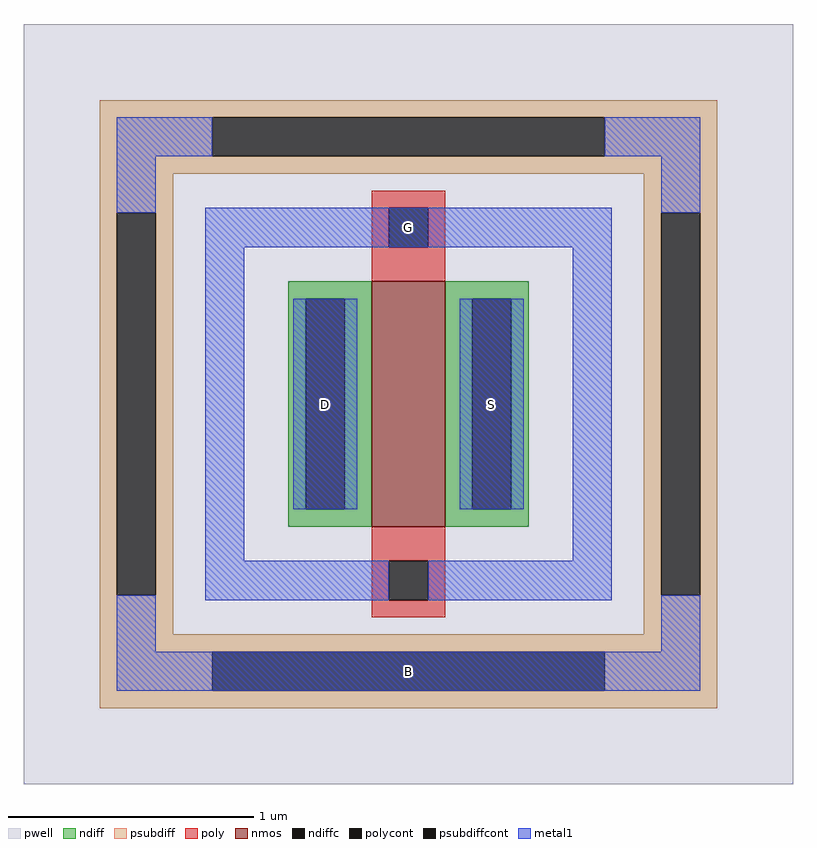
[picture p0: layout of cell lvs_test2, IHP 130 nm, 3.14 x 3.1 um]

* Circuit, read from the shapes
.subckt lvs_test2 S G D B
XM1 S G D B sg13_lv_nmos w=1u l=0.3u
.ends

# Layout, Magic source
magic
tech ihp-sg13cmos5l
<< metal1 >>
rect 149 219 165 235
rect 115 112 131 198
rect 183 112 199 198
rect 77 38 237 54
use sg13_lv_nmos_SWUS4L  sg13_lv_nmos_SWUS4L_0
transform 1 0 157 0 1 155
box -157 -155 157 155
<< labels >>
flabel metal1 183 112 199 198 0 FreeSans 128 0 0 0 S
port 0 nsew
flabel metal1 149 219 165 235 0 FreeSans 128 0 0 0 G
port 1 nsew
flabel metal1 115 112 131 198 0 FreeSans 128 0 0 0 D
port 2 nsew
flabel metal1 77 38 237 54 0 FreeSans 128 0 0 0 B
port 3 nsew
<< end >>

# cell sg13_lv_nmos_SWUS4L: kit device sg13_lv_nmos, w 1.0 l 0.3 m 1 ng 1 diffcov 100 polycov 100 guard 1 glc 1 grc 1 gtc 1 gbc 1 tbcov 100 rlcov 100 topc 1 botc 1 poverlap 0 doverlap 1 lmin 0.13 wmin 0.15 class mosfet compatible {sg13_lv_nmos sg13_hv_nmos} full_metal 1 conn_gates 1 gate_ring 1 doports 1 viasrc 0 viadrn 0 viagate 0 ccols 1 viagb 0 viagr 0 viagl 0 viagt 0
